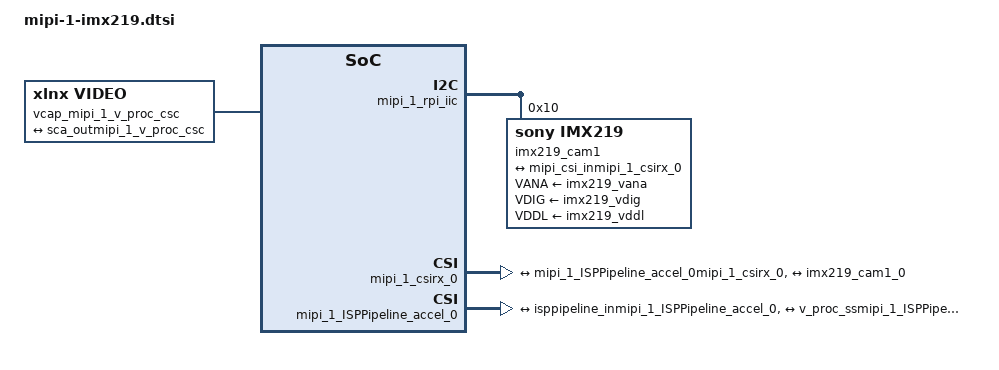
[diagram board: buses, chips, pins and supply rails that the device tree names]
&amba_pl {
	mipi_1_rpi_gpio: gpio@a4110000 {
		#gpio-cells = <2>;
		clock-names = "s_axi_aclk";
		clocks = <&versal_clk 65>;
		compatible = "xlnx,axi-gpio-2.0", "xlnx,xps-gpio-1.00.a";
		gpio-controller ;
		reg = <0x0 0xa4110000 0x0 0x10000>;
		xlnx,all-inputs = <0x0>;
		xlnx,all-inputs-2 = <0x0>;
		xlnx,all-outputs = <0x1>;
		xlnx,all-outputs-2 = <0x0>;
		xlnx,dout-default = <0x00000000>;
		xlnx,dout-default-2 = <0x00000000>;
		xlnx,gpio-width = <0x2>;
		xlnx,gpio2-width = <0x20>;
		xlnx,interrupt-present = <0x0>;
		xlnx,is-dual = <0x0>;
		xlnx,tri-default = <0xFFFFFFFF>;
		xlnx,tri-default-2 = <0xFFFFFFFF>;
	};

	mipi_1_rpi_iic: i2c@a4160000 {
		#address-cells = <1>;
		#size-cells = <0>;
		clock-names = "s_axi_aclk";
		clocks = <&versal_clk 65>;
		compatible = "xlnx,axi-iic-2.1", "xlnx,xps-iic-2.00.a";
		interrupt-names = "iic2intc_irpt";
		interrupt-parent = <&cips_ss_0_axi_intc_parent>;
		interrupts = <5 2>;
		reg = <0x0 0xa4160000 0x0 0x10000>;

		imx219_cam1: sensor@10 {
			compatible = "sony,imx219";
			reg = <0x10>;
			status = "okay";
						
			clocks = <&imx219_clk>;
			clock-names = "xclk";
			
			VANA-supply = <&imx219_vana>;   /* 2.8v */
			VDIG-supply = <&imx219_vdig>;   /* 1.8v */
			VDDL-supply = <&imx219_vddl>;   /* 1.2v */

			rotation = <180>;
			orientation = <2>;

			port {
			     imx219_cam1_0: endpoint {
			        clock-lanes = <0>;
				data-lanes = <1 2>;
				clock-noncontinuous;
				link-frequencies = /bits/ 64 <456000000>;
				remote-endpoint = <&mipi_csi_inmipi_1_csirx_0>;
				};
			};
		};
	};

	mipi_1_csirx_0: mipi_csi2_rx_subsystem@a4030000 {
		clock-names = "clkoutphy_in", "dphy_clk_200M", "lite_aclk", "video_aclk";
		clocks = <&misc_clk_6>, <&misc_clk_5>, <&versal_clk 65>, <&misc_clk_0>;
		//compatible = "xlnx,mipi-csi2-rx-subsystem-5.4", "xlnx,mipi-csi2-rx-subsystem-5.0";
		compatible = "xlnx,mipi-csi2-rx-subsystem-5.2", "xlnx,mipi-csi2-rx-subsystem-5.0";
		interrupt-names = "csirxss_csi_irq";
		interrupt-parent = <&cips_ss_0_axi_intc_parent>;
		interrupts = <3 2>;
		reg = <0x0 0xa4030000 0x0 0x2000>;
		xlnx,axis-tdata-width = <32>;
		xlnx,csi-pxl-format = <0x2b>;
		xlnx,dphy-present ;
		xlnx,en-active-lanes ;
		xlnx,en-csi-v2-0 ;
		xlnx,max-lanes = <2>;
		xlnx,ppc = <1>;
		xlnx,vc = <4>;
		xlnx,vfb ;
		mipi_csi_portsmipi_1_csirx_0: ports {
			#address-cells = <1>;
			#size-cells = <0>;
			mipi_csi_port1mipi_1_csirx_0: port@1 {
				reg = <1>;
				isppipeline_inmipi_1_ISPPipeline_accel_0: endpoint {
					remote-endpoint = <&mipi_1_ISPPipeline_accel_0mipi_1_csirx_0>;
				};
			};
			mipi_csi_port0mipi_1_csirx_0: port@0 {
				/* User need to add something like remote-endpoint=<&out> under the node csiss_in:endpoint */
				reg = <0>;
				mipi_csi_inmipi_1_csirx_0: endpoint {
					data-lanes = <1 2>;
					remote-endpoint = <&imx219_cam1_0>;					
				};
			};
		};
	};

	mipi_1_ISPPipeline_accel_0: ISPPipeline_accel@a4090000 {
		clock-names = "ap_clk";
		clocks = <&misc_clk_0>;
		compatible = "xlnx,ISPPipeline-accel-1.0", "xlnx,isppipeline-1.0";
		reg = <0x0 0xa4090000 0x0 0x10000>;
		//reset-gpios = <&cips_ss_0_axi_gpio_1 4 0 1>;
		reset-gpios = <&cips_ss_0_axi_gpio_1 4 1>;
		//xlnx,max-height = /bits/ 16 <2160>;
		//xlnx,max-width = /bits/ 16 <3840>;
		xlnx,max-width = /bits/ 16 <1920>;	
		xlnx,max-height = /bits/ 16 <1232>;
		xlnx,mode-reg ;
		xlnx,pawb = /bits/ 16 <350>;
		xlnx,rgain = /bits/ 16 <128>;
		xlnx,bgain = /bits/ 16 <210>;
		isppipeline_portsmipi_1_ISPPipeline_accel_0: ports {
			#address-cells = <1>;
			#size-cells = <0>;
			isppipeline_port0mipi_1_ISPPipeline_accel_0: port@0 {
				reg = <0>;
				mipi_1_ISPPipeline_accel_0mipi_1_csirx_0: endpoint {
					remote-endpoint = <&isppipeline_inmipi_1_ISPPipeline_accel_0>;
				};
			};
			isppipeline_port1mipi_1_ISPPipeline_accel_0: port@1 {
				reg = <1>;
				mipi_1_ISPPipeline_accel_0mipi_1_v_proc_csc: endpoint {
					remote-endpoint = <&v_proc_ssmipi_1_ISPPipeline_accel_0>;
				};
			};
		};
	};

	mipi_1_v_proc_csc: v_proc_ss@a41c0000 {
		clock-names = "aclk_axis", "aclk_ctrl";
		clocks = <&misc_clk_0>, <&versal_clk 65>;
		//compatible = "xlnx,v-proc-ss-2.3", "xlnx,vpss-scaler-2.2", "xlnx,v-vpss-scaler-2.2", "xlnx,vpss-scaler";
		compatible = "xlnx,v-vpss-scaler-2.2";
		reg = <0x0 0xa41c0000 0x0 0x40000>;
		reset-gpios = <&cips_ss_0_axi_gpio_1 6 1>;
		xlnx,colorspace-support = <0>;
		xlnx,csc-enable-window = "true";
		xlnx,enable-csc = "true";
		xlnx,h-scaler-phases = <64>;
		xlnx,h-scaler-taps = <6>;
		xlnx,max-height = <2160>;
		xlnx,max-num-phases = <64>;
		xlnx,max-width = <3840>;
		xlnx,num-hori-taps = <6>;
		xlnx,num-vert-taps = <6>;
		xlnx,pix-per-clk = <1>;
		xlnx,samples-per-clk = <1>;
		xlnx,scaler-algorithm = <2>;
		xlnx,topology = <0>;
		xlnx,use-uram = <0>;
		xlnx,v-scaler-phases = <64>;
		xlnx,v-scaler-taps = <6>;
		xlnx,video-width = <8>;
		scaler_portsmipi_1_v_proc_csc: ports {
			#address-cells = <1>;
			#size-cells = <0>;
			scaler_port1mipi_1_v_proc_csc: port@1 {
				/* For xlnx,video-format user needs to fill as per their requirement */
				reg = <1>;
				xlnx,video-format = <3>;
				xlnx,video-width = <8>;
				sca_outmipi_1_v_proc_csc: endpoint {
					remote-endpoint = <&mipi_1_vfbw_scaledmipi_1_v_proc_csc>;
				};
			};
			scaler_port0mipi_1_v_proc_csc: port@0 {
				/* For xlnx,video-format user needs to fill as per their requirement */
				reg = <0>;
				xlnx,video-format = <3>;
				xlnx,video-width = <8>;
				v_proc_ssmipi_1_ISPPipeline_accel_0: endpoint {
					remote-endpoint = <&mipi_1_ISPPipeline_accel_0mipi_1_v_proc_csc>;
				};
			};
		};
	};
	mipi_1_vfbw_scaled: v_frmbuf_wr@a40d0000 {
		#dma-cells = <1>;
		clock-names = "ap_clk";
		clocks = <&misc_clk_0>;
		//compatible = "xlnx,v-frmbuf-wr-2.5", "xlnx,axi-frmbuf-wr-v2.2";
		compatible = "xlnx,v-frmbuf-wr-2.4", "xlnx,axi-frmbuf-wr-v2.2";
		interrupt-names = "interrupt";
		interrupt-parent = <&cips_ss_0_axi_intc_parent>;
		interrupts = <4 2>;
		reg = <0x0 0xa40d0000 0x0 0x10000>;
		reset-gpios = <&cips_ss_0_axi_gpio_1 7 1>;
		xlnx,dma-addr-width = <64>;
		xlnx,dma-align = <8>;
		xlnx,max-height = <2160>;
		xlnx,max-width = <3840>;
		xlnx,pixels-per-clock = <1>;
		xlnx,s-axi-ctrl-addr-width = <0x7>;
		xlnx,s-axi-ctrl-data-width = <0x20>;
		xlnx,vid-formats = "rgb888", "bgr888", "xbgr8888", "xrgb8888", "uyvy", "y8", "vuy888", "xvuy8888", "yuyv", "nv16";
		xlnx,video-width = <8>;
	};

	vcap_mipi_1_v_proc_csc {
		compatible = "xlnx,video";
		dma-names = "port0";
		dmas = <&mipi_1_vfbw_scaled 0>;
		vcap_portsmipi_1_v_proc_csc: ports {
			#address-cells = <1>;
			#size-cells = <0>;
			vcap_portmipi_1_v_proc_csc: port@0 {
				direction = "input";
				reg = <0>;
				mipi_1_vfbw_scaledmipi_1_v_proc_csc: endpoint {
					remote-endpoint = <&sca_outmipi_1_v_proc_csc>;
				};
			};
		};
	};
};
